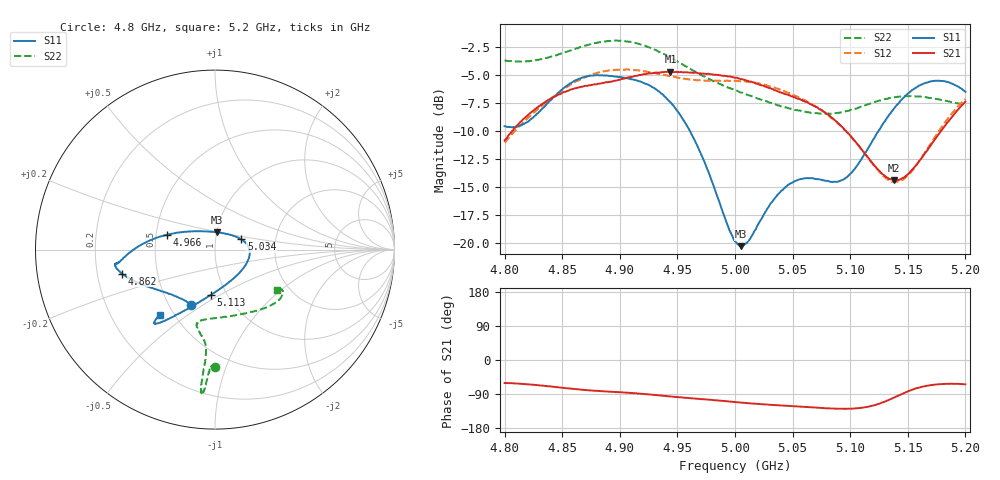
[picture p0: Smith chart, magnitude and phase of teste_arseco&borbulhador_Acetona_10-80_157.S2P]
! Network Analyzer HP8722D
! Hewlett-Packard
! Data name: Linha & Wilkinson
! Saver's name: Rodrigo Anjos
! Comments: Teste da utilização de aquisição
! continua pelo VNA HP8722D
! Time and date: 17/4/2025 15:40
!  Frequency  S11  S21  S12  S22
# HZ  S  MA R 50
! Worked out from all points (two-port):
!   401 points, 4.8 GHz to 5.2 GHz, reference 50 ohm
!   highest |S21| = -4.67 dB at 4.944 GHz (marker M1); lowest = -14.4 dB at 5.138 GHz (marker M2)
!   |S21| within 3 dB of the highest: 4.831 GHz to 5.067 GHz (236.5 MHz wide, 4.78 % of centre); 5.197014 GHz to end of sweep
!   lowest |S11| = -20.3 dB at 5.005 GHz (marker M3), VSWR 1.21, Z = 49.9 + j9.71 ohm
!   |S11| at or under -10 dB: 4.961 GHz to 5.124 GHz (163.4 MHz wide, 3.24 % of centre)
!   |S22| runs from -8.5 to -1.9 dB; largest |S21 - S12| = 0.88
!   S11 on the Smith chart (normalised r, x): 4.8 GHz: 0.65, -0.45; 4.862 GHz: 0.31, -0.11; 4.966 GHz: 0.57, +0.10; 5.034 GHz: 1.33, +0.16; 5.113 GHz: 0.85, -0.46; 5.2 GHz: 0.42, -0.39
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4.8e9  0.3331 -113.2  0.2878 -60.7  0.2817 -174.8  0.6564 -89.9
4.819e9  0.3465 -133.0  0.3688 -63.8  0.3575 -173.5  0.6498 -91.6
4.862e9  0.5353 -165.6  0.494 -76.8  0.5281 -176.6  0.7426 -93.8
4.867e9  0.5487 -167.5  0.5005 -78.3  0.5436 -177.6  0.7555 -93.8
4.899e9  0.5521 -172.2  0.5374 -85.0  0.5962 175.7  0.8033 -95.2
4.934e9  0.4764 -178.0  0.5777 -93.4  0.5717 171.9  0.7167 -95.7
4.944e9  0.4261 177.5  0.584 -96.3  0.5572 172.0  0.6754 -95.4
4.966e9  0.2811 163.0  0.5777 -101.7  0.5352 173.9  0.5818 -94.9
5e9  0.1019 102.4  0.5485 -110.9  0.5325 176.4  0.4825 -99.2
5.005e9  0.09679 85.0  0.5404 -112.4  0.5287 176.2  0.4707 -100.2
5.012e9  0.1026 62.1  0.5288 -114.2  0.5253 176.1  0.458 -101.8
5.034e9  0.1573 21.4  0.4834 -118.9  0.4971 174.8  0.4183 -103.5
5.05e9  0.1867 4.9  0.4524 -121.8  0.4611 174.2  0.3978 -99.4
5.067e9  0.1949 -13.1  0.4151 -124.8  0.4174 173.7  0.3822 -90.9
5.093e9  0.1915 -57.4  0.3305 -128.7  0.3289 174.1  0.3853 -70.7
5.113e9  0.2528 -94.9  0.25 -124.6  0.2501 179.9  0.413 -55.0
5.134e9  0.3755 -116.2  0.1934 -104.7  0.1909 -157.7  0.4452 -42.9
5.138e9  0.4 -118.5  0.191 -99.2  0.1879 -151.3  0.4482 -41.1
5.151e9  0.47 -124.2  0.2053 -81.5  0.2033 -131.3  0.4544 -36.3
5.17e9  0.5288 -128.7  0.2737 -66.3  0.279 -112.5  0.4454 -31.9
5.184e9  0.526 -129.9  0.3447 -62.9  0.3563 -107.1  0.4319 -30.9
5.2e9  0.4749 -130.3  0.4289 -64.2  0.4409 -106.3  0.4151 -33.3
